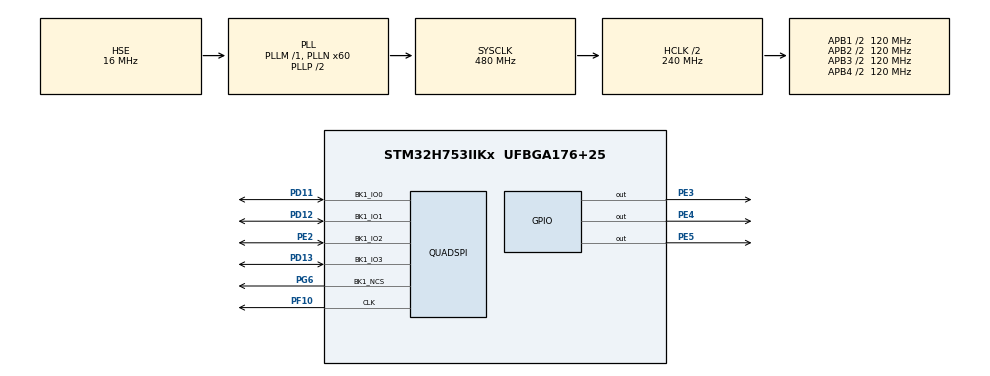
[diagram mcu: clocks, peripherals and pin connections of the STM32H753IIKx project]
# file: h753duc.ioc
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CORTEX_M7.BaseAddress_S-Cortex_Memory_Protection_Unit_Region1_Settings_S=0x90000000
CORTEX_M7.BaseAddress_Spec=0x90000000
CORTEX_M7.CPU_DCache=Enabled
CORTEX_M7.CPU_ICache=Enabled
CORTEX_M7.Enable_S-Cortex_Memory_Protection_Unit_Region1_Settings_S=MPU_REGION_ENABLE
CORTEX_M7.IsBufferable_S-Cortex_Memory_Protection_Unit_Region1_Settings_S=MPU_ACCESS_BUFFERABLE
CORTEX_M7.IsBufferable_Spec=MPU_ACCESS_BUFFERABLE
CORTEX_M7.IsCacheable_S-Cortex_Memory_Protection_Unit_Region1_Settings_S=MPU_ACCESS_CACHEABLE
CORTEX_M7.IsCacheable_Spec=MPU_ACCESS_CACHEABLE
CORTEX_M7.IsShareable_Spec=MPU_ACCESS_NOT_SHAREABLE
CORTEX_M7.Size_S-Cortex_Memory_Protection_Unit_Region1_Settings_S=MPU_REGION_SIZE_16MB
CORTEX_M7.default_mode_Activation=1
FREERTOS.INCLUDE_pcTaskGetTaskName=1
FREERTOS.INCLUDE_uxTaskGetStackHighWaterMark2=1
FREERTOS.INCLUDE_vTaskCleanUpResources=1
FREERTOS.INCLUDE_xEventGroupSetBitFromISR=1
FREERTOS.INCLUDE_xSemaphoreGetMutexHolder=1
FREERTOS.INCLUDE_xTaskAbortDelay=1
FREERTOS.INCLUDE_xTaskGetHandle=1
FREERTOS.Tasks01=defaultTask,24,128,StartDefaultTask,Default,NULL,Dynamic,NULL,NULL
FREERTOS.configENABLE_FPU=0
Mcu.Family=STM32H7
Mcu.Name=STM32H753IIKx
Mcu.Package=UFBGA176+25
Mdma.MDMA_Channel0.QUADSPI_FIFO_TH.0.BlockCount=0
Mdma.MDMA_Channel0.QUADSPI_FIFO_TH.0.BlockDataLength=0
Mdma.MDMA_Channel0.QUADSPI_FIFO_TH.0.BufferTransferLength=32
Mdma.MDMA_Channel0.QUADSPI_FIFO_TH.0.CircularMode=MDMA_LINEAR_LIST
Mdma.MDMA_Channel0.QUADSPI_FIFO_TH.0.DataAlignment=MDMA_DATAALIGN_PACKENABLE
Mdma.MDMA_Channel0.QUADSPI_FIFO_TH.0.DestBlockAddressOffset=0
Mdma.MDMA_Channel0.QUADSPI_FIFO_TH.0.DestBurst=MDMA_DEST_BURST_SINGLE
Mdma.MDMA_Channel0.QUADSPI_FIFO_TH.0.DestDataSize=MDMA_DEST_DATASIZE_BYTE
Mdma.MDMA_Channel0.QUADSPI_FIFO_TH.0.DestinationInc=MDMA_DEST_INC_BYTE
Mdma.MDMA_Channel0.QUADSPI_FIFO_TH.0.DstAddress=0
Mdma.MDMA_Channel0.QUADSPI_FIFO_TH.0.Endianness=MDMA_LITTLE_ENDIANNESS_PRESERVE
Mdma.MDMA_Channel0.QUADSPI_FIFO_TH.0.Instance=MDMA_Channel0
Mdma.MDMA_Channel0.QUADSPI_FIFO_TH.0.MaskAddress=0
Mdma.MDMA_Channel0.QUADSPI_FIFO_TH.0.MaskData=0
Mdma.MDMA_Channel0.QUADSPI_FIFO_TH.0.Priority=MDMA_PRIORITY_LOW
Mdma.MDMA_Channel0.QUADSPI_FIFO_TH.0.Rank=First
Mdma.MDMA_Channel0.QUADSPI_FIFO_TH.0.SourceBlockAddressOffset=0
Mdma.MDMA_Channel0.QUADSPI_FIFO_TH.0.SourceBurst=MDMA_SOURCE_BURST_SINGLE
Mdma.MDMA_Channel0.QUADSPI_FIFO_TH.0.SourceDataSize=MDMA_SRC_DATASIZE_BYTE
Mdma.MDMA_Channel0.QUADSPI_FIFO_TH.0.SourceInc=MDMA_SRC_INC_BYTE
Mdma.MDMA_Channel0.QUADSPI_FIFO_TH.0.SrcAddress=0
Mdma.MDMA_Channel0.QUADSPI_FIFO_TH.0.TransferTriggerMode=MDMA_BUFFER_TRANSFER
Mdma.MDMA_Channel0.Request0=QUADSPI_FIFO_TH
Mdma.MDMA_Channel0.RequestsNb=1
Mdma.RequestSet0=MDMA_Channel0
Mdma.RequestSetsNb=1
NVIC.MDMA_IRQn=true\:5\:0\:false\:false\:true\:true\:false\:true\:true
NVIC.PriorityGroup=NVIC_PRIORITYGROUP_4
PA13\ (JTMS/SWDIO).Mode=Serial_Wire
PA13\ (JTMS/SWDIO).Signal=DEBUG_JTMS-SWDIO
PA14\ (JTCK/SWCLK).Mode=Serial_Wire
PA14\ (JTCK/SWCLK).Signal=DEBUG_JTCK-SWCLK
PC14-OSC32_IN\ (OSC32_IN).Mode=LSE-External-Oscillator
PC14-OSC32_IN\ (OSC32_IN).Signal=RCC_OSC32_IN
PC15-OSC32_OUT\ (OSC32_OUT).Mode=LSE-External-Oscillator
PC15-OSC32_OUT\ (OSC32_OUT).Signal=RCC_OSC32_OUT
PC7.Mode=External_Trigger_bidirectional
PC7.Signal=DEBUG_TRGIO
PD11.GPIO_Speed=GPIO_SPEED_FREQ_VERY_HIGH
PD11.Mode=Single Bank 1
PD11.Signal=QUADSPI_BK1_IO0
PD12.GPIO_Speed=GPIO_SPEED_FREQ_VERY_HIGH
PD12.Mode=Single Bank 1
PD12.Signal=QUADSPI_BK1_IO1
PD13.GPIO_Speed=GPIO_SPEED_FREQ_VERY_HIGH
PD13.Mode=Single Bank 1
PD13.Signal=QUADSPI_BK1_IO3
PE2.GPIO_Speed=GPIO_SPEED_FREQ_VERY_HIGH
PE2.Mode=Single Bank 1
PE2.Signal=QUADSPI_BK1_IO2
PE3.GPIO_Speed=GPIO_SPEED_FREQ_VERY_HIGH
PE3.PinState=GPIO_PIN_SET
PE3.Signal=GPIO_Output
PE4.GPIO_Speed=GPIO_SPEED_FREQ_VERY_HIGH
PE4.PinState=GPIO_PIN_SET
PE4.Signal=GPIO_Output
PE5.GPIO_Speed=GPIO_SPEED_FREQ_VERY_HIGH
PE5.PinState=GPIO_PIN_RESET
PE5.Signal=GPIO_Output
PF10.GPIO_Speed=GPIO_SPEED_FREQ_VERY_HIGH
PF10.Mode=Single Bank 1
PF10.Signal=QUADSPI_CLK
PG6.GPIO_PuPd=GPIO_PULLUP
PG6.GPIO_Speed=GPIO_SPEED_FREQ_VERY_HIGH
PG6.Mode=Single Bank 1
PG6.Signal=QUADSPI_BK1_NCS
PH0-OSC_IN\ (PH0).Mode=HSE-External-Oscillator
PH0-OSC_IN\ (PH0).Signal=RCC_OSC_IN
PH1-OSC_OUT\ (PH1).Mode=HSE-External-Oscillator
PH1-OSC_OUT\ (PH1).Signal=RCC_OSC_OUT
ProjectManager.HeapSize=0x200
ProjectManager.StackSize=0x400
ProjectManager.TargetToolchain=Makefile
QUADSPI.ChipSelectHighTime=QSPI_CS_HIGH_TIME_2_CYCLE
QUADSPI.ClockMode=QSPI_CLOCK_MODE_3
QUADSPI.ClockPrescaler=2
QUADSPI.FifoThreshold=32
QUADSPI.FlashSize=23
RCC.ADCFreq_Value=32250000
RCC.APB1Freq_Value=120000000
RCC.APB2Freq_Value=120000000
RCC.APB3Freq_Value=120000000
RCC.APB4Freq_Value=120000000
RCC.CortexFreq_Value=480000000
RCC.D1PPRE=RCC_APB3_DIV2
RCC.D2PPRE1=RCC_APB1_DIV2
RCC.D2PPRE2=RCC_APB2_DIV2
RCC.D3PPRE=RCC_APB4_DIV2
RCC.DIVM1=1
RCC.DIVN1=60
RCC.HCLKFreq_Value=240000000
RCC.HPRE=RCC_HCLK_DIV2
RCC.HSE_VALUE=16000000
RCC.PLLFRACN=0
RCC.PLLSourceVirtual=RCC_PLLSOURCE_HSE
RCC.SYSCLKFreq_VALUE=480000000
RCC.SYSCLKSource=RCC_SYSCLKSOURCE_PLLCLK
RCC.USBFreq_Value=480000000
TIM2.Prescaler=199
VP_FREERTOS_VS_CMSIS_V2.Mode=CMSIS_V2
VP_MEMORYMAP_VS_MEMORYMAP.Mode=CurAppReg
VP_TIM2_VS_ClockSourceINT.Mode=Internal
board=custom

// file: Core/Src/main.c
/* USER CODE BEGIN Header */
/**
  ******************************************************************************
  * @file           : main.c
  * @brief          : Main program body
  ******************************************************************************
  * @attention
  *
  * Copyright (c) 2025 STMicroelectronics.
  * All rights reserved.
  *
  * This software is licensed under terms that can be found in the LICENSE file
  * in the root directory of this software component.
  * If no LICENSE file comes with this software, it is provided AS-IS.
  *
  ******************************************************************************
  */
/* USER CODE END Header */
#include "../Inc/main.h"
#include "cmsis_os2.h"
#include "../Inc/mdma.h"
#include "../Inc/quadspi.h"
#include "../Inc/tim.h"
#include "../Inc/gpio.h"
//#include "swo.h"
#include <stdio.h>
#include <stdbool.h>
#include "../Inc/swo.h"

/* USER CODE BEGIN PD */

extern unsigned char h753duc_bin[];
extern unsigned int h753duc_bin_len;

void QSPI_ProgramFullImage(void) {
  uint32_t addr = 0;
  uint32_t remain = h753duc_bin_len;
  uint8_t *P = h753duc_bin;
  while (remain > 0) {
    uint32_t chunk = (remain > MEMORY_PAGE_SIZE) ? MEMORY_PAGE_SIZE : remain;
    QSPI_PageProgram(addr, P, chunk); // or QSPI_WriteBuffer if have
    addr += chunk;
    P += chunk;
    remain -= chunk;
  }
}

typedef enum
{
  LED_MODE_IDLE = 0U,
  LED_MODE_DEBUG,
  LED_MODE_XIP,
  LED_MODE_PROGRAMMED
} LedMode_t;
/* USER CODE END PD */

/* USER CODE BEGIN PV */
static LedMode_t g_led_mode = LED_MODE_IDLE;
static uint8_t swo_ready = 0U;
static uint32_t swo_last_heartbeat = 0U;
/* USER CODE END PV */

void SystemClock_Config(void);
static void MPU_Config(void);
void MX_FREERTOS_Init(void);
/* USER CODE BEGIN PFP */
static void LED_SetMode(LedMode_t mode);
static void UpdateConnectionIndicators(void);
/* USER CODE END PFP */

int main(void)
{

  /* MPU Configuration--------------------------------------------------------*/
  MPU_Config();

  /* Enable the CPU Cache */

  /* Enable I-Cache---------------------------------------------------------*/
  SCB_EnableICache();

  /* Enable D-Cache---------------------------------------------------------*/
  SCB_EnableDCache();

  /* MCU Configuration--------------------------------------------------------*/

  /* Reset of all peripherals, Initializes the Flash interface and the Systick. */
  HAL_Init();

  /* Configure the system clock */
  SystemClock_Config();

  /* Initialize all configured peripherals */
  MX_GPIO_Init();
  MX_MDMA_Init();
  MX_QUADSPI_Init();
  MX_TIM2_Init();
  /* USER CODE BEGIN 2 */
  LED_SetMode(LED_MODE_PROGRAMMED);
  HAL_Delay(250U);
  LED_ServiceTask();
  /* USER CODE END 2 */

  /* Init scheduler */
  osKernelInitialize();  /* Call init function for freertos objects (in cmsis_os2.c) */
  MX_FREERTOS_Init();

  /* Start scheduler */
  osKernelStart();

  /* We should never get here as control is now taken by the scheduler */
  /* Infinite loop */

}

void SystemClock_Config(void)
{
  RCC_OscInitTypeDef RCC_OscInitStruct = {0};
  RCC_ClkInitTypeDef RCC_ClkInitStruct = {0};

  /** Supply configuration update enable
  */
  HAL_PWREx_ConfigSupply(PWR_LDO_SUPPLY);

  /** Configure the main internal regulator output voltage
  */
  __HAL_PWR_VOLTAGESCALING_CONFIG(PWR_REGULATOR_VOLTAGE_SCALE0);

  while(!__HAL_PWR_GET_FLAG(PWR_FLAG_VOSRDY)) {}

  /** Initializes the RCC Oscillators according to the specified parameters
  * in the RCC_OscInitTypeDef structure.
  */
  RCC_OscInitStruct.OscillatorType = RCC_OSCILLATORTYPE_HSE;
  RCC_OscInitStruct.HSEState = RCC_HSE_ON;
  RCC_OscInitStruct.PLL.PLLState = RCC_PLL_ON;
  RCC_OscInitStruct.PLL.PLLSource = RCC_PLLSOURCE_HSE;
  RCC_OscInitStruct.PLL.PLLM = 1;
  RCC_OscInitStruct.PLL.PLLN = 60;
  RCC_OscInitStruct.PLL.PLLP = 2;
  RCC_OscInitStruct.PLL.PLLQ = 2;
  RCC_OscInitStruct.PLL.PLLR = 2;
  RCC_OscInitStruct.PLL.PLLRGE = RCC_PLL1VCIRANGE_3;
  RCC_OscInitStruct.PLL.PLLVCOSEL = RCC_PLL1VCOWIDE;
  RCC_OscInitStruct.PLL.PLLFRACN = 0;
  if (HAL_RCC_OscConfig(&RCC_OscInitStruct) != HAL_OK)
  {
    Error_Handler();
  }

  /** Initializes the CPU, AHB and APB buses clocks
  */
  RCC_ClkInitStruct.ClockType = RCC_CLOCKTYPE_HCLK|RCC_CLOCKTYPE_SYSCLK
                              |RCC_CLOCKTYPE_PCLK1|RCC_CLOCKTYPE_PCLK2
                              |RCC_CLOCKTYPE_D3PCLK1|RCC_CLOCKTYPE_D1PCLK1;
  RCC_ClkInitStruct.SYSCLKSource = RCC_SYSCLKSOURCE_PLLCLK;
  RCC_ClkInitStruct.SYSCLKDivider = RCC_SYSCLK_DIV1;
  RCC_ClkInitStruct.AHBCLKDivider = RCC_HCLK_DIV2;
  RCC_ClkInitStruct.APB3CLKDivider = RCC_APB3_DIV2;
  RCC_ClkInitStruct.APB1CLKDivider = RCC_APB1_DIV2;
  RCC_ClkInitStruct.APB2CLKDivider = RCC_APB2_DIV2;
  RCC_ClkInitStruct.APB4CLKDivider = RCC_APB4_DIV2;

  if (HAL_RCC_ClockConfig(&RCC_ClkInitStruct, FLASH_LATENCY_4) != HAL_OK)
  {
    Error_Handler();
  }
}

/* USER CODE BEGIN 4 */

static void LED_SetMode(LedMode_t mode)
{
  if (g_led_mode == mode) {
    return;
  }
  g_led_mode = mode;
  switch (mode) {
    case LED_MODE_DEBUG:
      LED_SetRGB(false, false, false);
      break;
    case LED_MODE_XIP:
      LED_SetRGB(false, false, false);
      break;
    case LED_MODE_PROGRAMMED:
      LED_SetRGB(true, false, false);
      break;
    case LED_MODE_IDLE:
    default:
      LED_AllOff();
      break;
  }
}

static void UpdateConnectionIndicators(void)
{
  if (Debug_IsConnected()) {
    LED_SetMode(LED_MODE_DEBUG);
    return;
  }
  if (QSPI_IsMemoryMapped()) {
    LED_SetMode(LED_MODE_XIP);
    return;
  }
  LED_SetMode(LED_MODE_IDLE);
}

void LED_ServiceTask(void)
{
  UpdateConnectionIndicators();

  if (Debug_IsConnected()) {
    if (swo_ready == 0U) {
      SWO_Init(SystemCoreClock, 2000000U);
      swo_ready = 1U;
      swo_last_heartbeat = HAL_GetTick();
      ITM_SendChar('I');
      ITM_SendChar('T');
      ITM_SendChar('M');
      ITM_SendChar(':');
      ITM_SendChar(' ');
      SWO_Print("SWO connected\r\n");
      uint8_t qspi_status = QSPI_LastCheckStatus();
      if (qspi_status == 0U) {
        uint8_t mid = 0U;
        uint8_t mem_type = 0U;
        uint8_t capacity = 0U;
        if (QSPI_ReadJEDEC_ID(&mid, &mem_type, &capacity) == 0U) {
          printf("QSPI OK: JEDEC %02X %02X %02X\r\n", mid, mem_type, capacity);
        } else {
          printf("QSPI JEDEC read failed\r\n");
        }
      } else {
        printf("QSPI init check failed: %u\r\n", qspi_status);
      }
    }
  } else if (swo_ready != 0U) {
    /* Allow re-init if debugger disconnects and attaches again */
    swo_ready = 0U;
    swo_last_heartbeat = 0U;
  }

  if (swo_ready != 0U) {
    uint32_t now = HAL_GetTick();
    if ((now - swo_last_heartbeat) >= 1000U) {
      printf("SWO heartbeat @%lu ms\r\n", (unsigned long)now);
      swo_last_heartbeat = now;
    }
  }
}

/* USER CODE END 4 */

 /* MPU Configuration */

void MPU_Config(void)
{
  MPU_Region_InitTypeDef MPU_InitStruct = {0};

  /* Disables the MPU */
  HAL_MPU_Disable();

  /** Initializes and configures the Region and the memory to be protected
  */
  MPU_InitStruct.Enable = MPU_REGION_ENABLE;
  MPU_InitStruct.Number = MPU_REGION_NUMBER0;
  MPU_InitStruct.BaseAddress = 0x90000000;
  MPU_InitStruct.Size = MPU_REGION_SIZE_4GB;
  MPU_InitStruct.SubRegionDisable = 0x87;
  MPU_InitStruct.TypeExtField = MPU_TEX_LEVEL0;
  MPU_InitStruct.AccessPermission = MPU_REGION_NO_ACCESS;
  MPU_InitStruct.DisableExec = MPU_INSTRUCTION_ACCESS_DISABLE;
  MPU_InitStruct.IsShareable = MPU_ACCESS_NOT_SHAREABLE;
  MPU_InitStruct.IsCacheable = MPU_ACCESS_CACHEABLE;
  MPU_InitStruct.IsBufferable = MPU_ACCESS_BUFFERABLE;

  HAL_MPU_ConfigRegion(&MPU_InitStruct);

  /** Initializes and configures the Region and the memory to be protected
  */
  MPU_InitStruct.Number = MPU_REGION_NUMBER1;
  MPU_InitStruct.Size = MPU_REGION_SIZE_16MB;
  MPU_InitStruct.SubRegionDisable = 0x0;
  MPU_InitStruct.DisableExec = MPU_INSTRUCTION_ACCESS_ENABLE;

  HAL_MPU_ConfigRegion(&MPU_InitStruct);
  /* Enables the MPU */
  HAL_MPU_Enable(MPU_PRIVILEGED_DEFAULT);

}

void Error_Handler(void)
{
  __disable_irq();
  while (1)
  {
  }
}
//hello//

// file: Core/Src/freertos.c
/* USER CODE BEGIN Header */
/**
  ******************************************************************************
  * File Name          : freertos.c
  * Description        : Code for freertos applications
  ******************************************************************************
  * @attention
  *
  * Copyright (c) 2025 STMicroelectronics.
  * All rights reserved.
  *
  * This software is licensed under terms that can be found in the LICENSE file
  * in the root directory of this software component.
  * If no LICENSE file comes with this software, it is provided AS-IS.
  *
  ******************************************************************************
  */
/* USER CODE END Header */

#include "FreeRTOS.h"
#include "task.h"
#include "main.h"
#include "cmsis_os.h"
#include <stdio.h>

/* USER CODE BEGIN Includes */
#include <stdio.h>
#include <stdbool.h>
#include "gpio.h"
extern void vCLITask(void *pvParameters);
extern void vRegisterSampleCLICommands(void);
extern void vRegisterCustomCLICommands(void);
/* USER CODE END Includes */

/* Definitions for defaultTask */
osThreadId_t defaultTaskHandle;
const osThreadAttr_t defaultTask_attributes = {
  .name = "defaultTask",
  .stack_size = 128 * 4,
  .priority = (osPriority_t) osPriorityNormal,
};
/* Definitions for uartPrintTask */
osThreadId_t uartPrintTaskHandle;
const osThreadAttr_t uartPrintTask_attributes = {
  .name = "uartPrintTask",
  .stack_size = 128 * 4,
  .priority = (osPriority_t) osPriorityLow,
};

/* USER CODE BEGIN FunctionPrototypes */
void StartUartPrintTask(void *argument);
/* USER CODE END FunctionPrototypes */

void StartDefaultTask(void *argument);
void StartUartPrintTask(void *argument);

void MX_FREERTOS_Init(void); /* (MISRA C 2004 rule 8.1) */

void MX_FREERTOS_Init(void) {

  /* Create the thread(s) */
  /* creation of defaultTask */
  defaultTaskHandle = osThreadNew(StartDefaultTask, NULL, &defaultTask_attributes);
  /* creation of uartPrintTask */
  uartPrintTaskHandle = osThreadNew(StartUartPrintTask, NULL, &uartPrintTask_attributes);

  /* USER CODE BEGIN RTOS_THREADS */
  /* add threads, ... */

  /* Register CLI commands */
  vRegisterSampleCLICommands();
  vRegisterCustomCLICommands();

  /* Create CLI task */
  xTaskCreate(vCLITask,
              "CLI",
              512,           /* Stack size in words */
              NULL,
              tskIDLE_PRIORITY + 2,
              NULL);

  /* USER CODE END RTOS_THREADS */

}

void StartDefaultTask(void *argument)
{
  /* USER CODE BEGIN StartDefaultTask */

  /* Infinite loop - LED nháy liên tục */
  for(;;)
  {
    // Đỏ ON
    LED_SetRGB(true, false, false);
    osDelay(300);

    // Xanh lá ON
    LED_SetRGB(false, true, false);
    osDelay(300);

    // Xanh dương ON
    LED_SetRGB(false, false, true);
    osDelay(300);

    // Tất cả ON (trắng)
    LED_SetRGB(true, true, true);
    osDelay(300);

    // Tất cả OFF
    LED_SetRGB(false, false, false);
    osDelay(300);
  }
  /* USER CODE END StartDefaultTask */
}
void StartUartPrintTask(void *argument)
{
  /* USER CODE BEGIN StartUartPrintTask */
  for(;;)
  {
    printf("Hello from FreeRTOS!\r\n");
    osDelay(1000);
  }
  /* USER CODE END StartUartPrintTask */
}

/* USER CODE BEGIN Application */

/* Runtime stats timer configuration for FreeRTOS+CLI */
static uint32_t ulRunTimeStatsCounter = 0;

void vConfigureTimerForRunTimeStats(void)
{
    /* Initialize runtime stats counter */
    ulRunTimeStatsCounter = 0;
}

uint32_t ulGetRunTimeCounterValue(void)
{
    /* Return runtime counter value (incremented in SysTick) */
    return ulRunTimeStatsCounter;
}

/* This should be called from SysTick_Handler or a high-frequency timer */
void vApplicationTickHook(void)
{
    ulRunTimeStatsCounter++;
}

/* USER CODE END Application */
